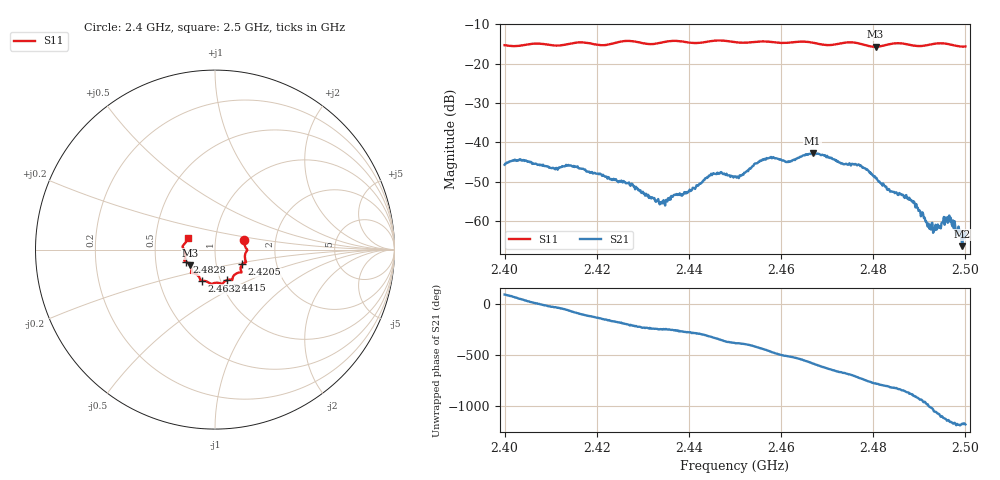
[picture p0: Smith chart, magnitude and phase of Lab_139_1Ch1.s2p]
# Hz S RI R 50
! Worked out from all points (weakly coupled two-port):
!   601 points, 2.4 GHz to 2.5 GHz, reference 50 ohm
!   highest |S21| = -42.74 dB at 2.4668 GHz (marker M1); lowest = -66.4 dB at 2.4993 GHz (marker M2)
!   lowest |S11| = -15.7 dB at 2.4805 GHz (marker M3), VSWR 1.39, Z = 37.3 - j6.69 ohm
!   |S11| at or under -10 dB: start of sweep to end of sweep
!   S12 and S22 are empty: the file has one direction only
!   S11 on the Smith chart (normalised r, x): 2.4 GHz: 1.38, +0.15; 2.4205 GHz: 1.34, -0.22; 2.4415 GHz: 1.07, -0.38; 2.4632 GHz: 0.82, -0.29; 2.4828 GHz: 0.72, -0.10; 2.5 GHz: 0.73, +0.10
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2.4e9  0.1637 0.0519  -0.000166 0.00519  0 0  0 0
2.403667e9  0.17 0.0125  0.00425 0.00423  0 0  0 0
2.416667e9  0.173 -0.0699  -0.000867 -0.00453  0 0  0 0
2.4205e9  0.1519 -0.0816  -0.00296 -0.00257  0 0  0 0
2.427333e9  0.1468 -0.1271  -0.00255 0.00114  0 0  0 0
2.433333e9  0.1004 -0.1515  -0.000715 0.00176  0 0  0 0
2.4415e9  0.0657 -0.1707  0.000711 0.00259  0 0  0 0
2.445167e9  0.0429 -0.1902  0.00334 0.00218  0 0  0 0
2.45e9  0.0242 -0.1864  0.00342 -0.00142  0 0  0 0
2.457333e9  -0.0278 -0.1881  -0.00101 -0.0062  0 0  0 0
2.463167e9  -0.0732 -0.1739  -0.00594 -0.00137  0 0  0 0
2.466667e9  -0.0822 -0.1669  -0.00564 0.00449  0 0  0 0
2.466833e9  -0.0824 -0.1659  -0.00542 0.00489  0 0  0 0
2.477e9  -0.132 -0.1226  0.00514 -0.000332  0 0  0 0
2.4805e9  -0.1387 -0.0872  0.00198 -0.00289  0 0  0 0
2.482833e9  -0.1588 -0.07  0.000378 -0.0027  0 0  0 0
2.483333e9  -0.1625 -0.0679  0.000184 -0.00255  0 0  0 0
2.488333e9  -0.1661 -0.0433  -0.00171 -0.000512  0 0  0 0
2.492667e9  -0.1762 0.00705  0.000405 0.000842  0 0  0 0
2.496333e9  -0.1754 0.0257  0.000655 -0.000904  0 0  0 0
2.499333e9  -0.1554 0.0551  1.08e-05 -0.000478  0 0  0 0
2.5e9  -0.1525 0.0645  -9.11e-05 -0.000703  0 0  0 0
